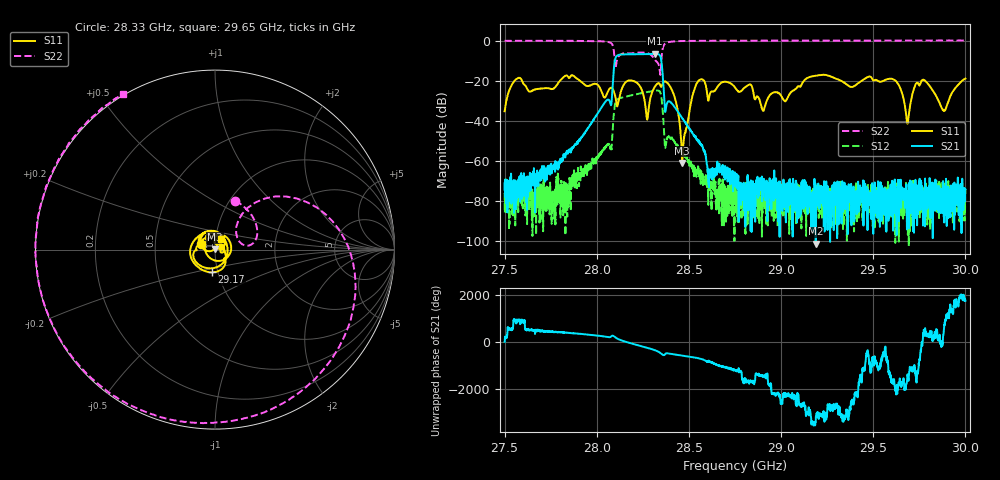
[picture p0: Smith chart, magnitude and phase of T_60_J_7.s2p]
!Keysight Technologies,N5234A,MY55441357,A.10.47.05
!Date: Sunday, November 19, 2017 17:34:04
!Correction: S11(Full 2 Port(1,2))
!S21(Full 2 Port(1,2))
!S12(Full 2 Port(1,2))
!S22(Full 2 Port(1,2))
!S2P File: Measurements: S11, S21, S12, S22:
# Hz S  dB  R 50
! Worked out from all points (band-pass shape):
!   2501 points, 27.5 GHz to 30 GHz, reference 50 ohm
!   highest |S21| = -6.52 dB at 28.32 GHz (marker M1); lowest = -101.3 dB at 29.19 GHz (marker M2)
!   |S21| within 3 dB of the highest: 28.1 GHz to 28.35 GHz (250.3 MHz wide, 0.887 % of centre)
!   lowest |S11| = -61.0 dB at 28.46 GHz (marker M3), VSWR 1.00, Z = 50 + j0.0866 ohm
!   |S11| at or under -10 dB: start of sweep to end of sweep
!   |S22| runs from -17.1 to 0.1 dB; largest |S21 - S12| = 0.49
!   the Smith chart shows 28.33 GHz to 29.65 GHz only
!   S11 on the Smith chart (normalised r, x): 28.33 GHz: 0.86, +0.06; 29.17 GHz: 0.94, -0.24; 29.65 GHz: 1.06, +0.12
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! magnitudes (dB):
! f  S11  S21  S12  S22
! 27.5 GHz  -35.2  -71.2  -75.9  -0.1
! 27.57 GHz  -18.7  -71.3  -79.0  -0.1
! 27.92 GHz  -20.6  -48.0  -65.7  -0.1
! 28.07 GHz  -23.8  -30.8  -52.8  -0.9
! 28.11 GHz  -32.8  -7.4  -29.5  -9.2
! 28.32 GHz  -23.0  -6.5  -24.9  -9.4
! 28.33 GHz  -21.7  -6.6  -24.8  -10.6
! 28.33 GHz  -21.2  -6.8  -24.9  -11.5
! 28.38 GHz  -20.6  -33.3  -51.4  -1.2
! 28.46 GHz  -61.0  -38.4  -55.7  -0.2
! 28.55 GHz  -20.0  -49.7  -63.4  -0.1
! 28.75 GHz  -23.3  -66.3  -79.2  0.0
! 28.9 GHz  -35.0  -71.0  -78.1  0.0
! 29.17 GHz  -17.9  -78.2  -77.1  0.0
! 29.17 GHz  -17.8  -80.9  -79.9  0.0
! 29.19 GHz  -17.5  -101.3  -81.5  0.0
! 29.58 GHz  -19.0  -76.4  -78.2  0.0
! 29.65 GHz  -23.6  -74.9  -79.8  0.1
! 29.69 GHz  -41.5  -79.9  -81.2  0.1
! 29.73 GHz  -21.1  -74.9  -78.5  0.1
! 29.88 GHz  -35.1  -72.6  -75.1  0.1
! 30 GHz  -18.9  -74.1  -77.7  0.1
